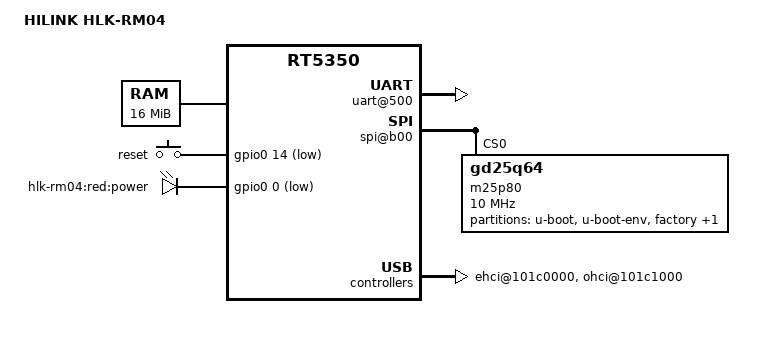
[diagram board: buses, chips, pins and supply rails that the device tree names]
/dts-v1/;

/include/ "rt5350.dtsi"

/ {
	compatible = "HLKRM04", "ralink,rt5350-soc";
	model = "HILINK HLK-RM04";

	memory@0 {
		device_type = "memory";
		reg = <0x0 0x1000000>;
	};

	chosen {
		bootargs = "console=ttyS1,57600";
	};

	palmbus@10000000 {
		uart@500 {
			status = "okay";
		};

		spi@b00 {
			status = "okay";
			m25p80@0 {
				#address-cells = <1>;
				#size-cells = <1>;
				compatible = "gd25q64";
				reg = <0 0>;
				linux,modalias = "m25p80", "s25fl064k";
				spi-max-frequency = <10000000>;

				partition@0 {
					label = "u-boot";
					reg = <0x0 0x30000>;
					read-only;
				};

				partition@30000 {
					label = "u-boot-env";
					reg = <0x30000 0x10000>;
					read-only;
				};

				factory: partition@40000 {
					label = "factory";
					reg = <0x40000 0x10000>;
					read-only;
				};

				partition@50000 {
					label = "firmware";
					reg = <0x50000 0x3b0000>;
				};
			};
		};
	};

	pinctrl {
		state_default: pinctrl0 {
			gpio {
				ralink,group = "jtag";
				ralink,function = "gpio";
			};
		};
	};

	ethernet@10100000 {
		mtd-mac-address = <&factory 0x4>;
	};

	wmac@10180000 {
		ralink,mtd-eeprom = <&factory 0>;
	};

	ehci@101c0000 {
		status = "okay";
	};

	ohci@101c1000 {
		status = "okay";
	};

	gpio-keys-polled {
		compatible = "gpio-keys-polled";
		#address-cells = <1>;
		#size-cells = <0>;
		poll-interval = <20>;
		wps {
			label = "reset";
			gpios = <&gpio0 14 1>;
			linux,code = <0x198>;
		};
	};

	gpio-leds {
		compatible = "gpio-leds";
		power {
			label = "hlk-rm04:red:power";
			gpios = <&gpio0 0 1>;
		};
	};
};
